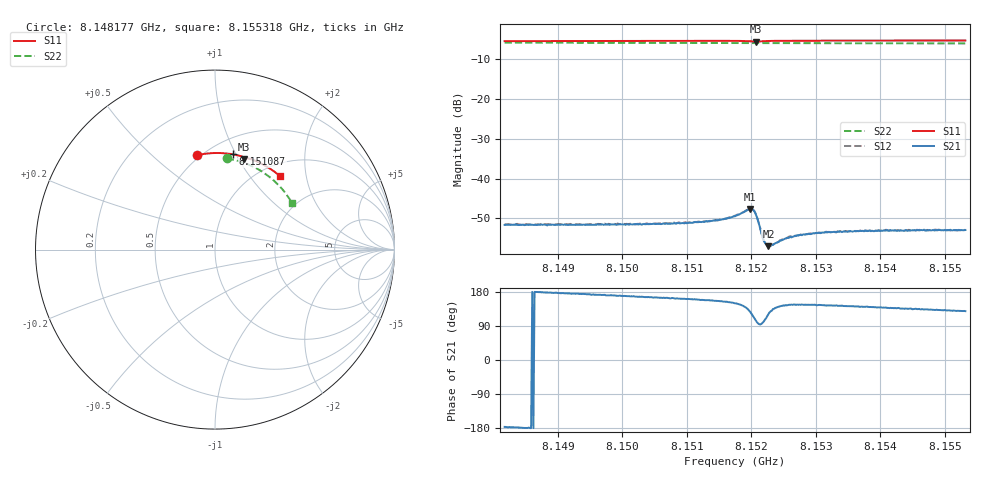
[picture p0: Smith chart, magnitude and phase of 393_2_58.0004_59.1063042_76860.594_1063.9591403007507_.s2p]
#  HZ  S  RI  R  50.00
! Rohde & Schwarz Vector Network Analyzer
! Rohde-Schwarz,ZNB20-2Port,1311601062101988,3.16
! Created: UTC 3/21/2024, 1:07:55 AM
! freq[Hz]  re:S11  im:S11  re:S21  im:S21  re:S12  im:S12  re:S22  im:S22
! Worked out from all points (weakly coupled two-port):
!   401 points, 8.148177 GHz to 8.155318 GHz, reference 50 ohm
!   highest |S21| = -47.67 dB at 8.15198 GHz (marker M1); lowest = -57.0 dB at 8.152265 GHz (marker M2)
!   lowest |S11| = -5.5 dB at 8.152069 GHz (marker M3), VSWR 3.25, Z = 37.7 + j52.7 ohm
!   |S11| at or under -10 dB: nowhere
!   |S22| runs from -6.0 to -5.8 dB; largest |S21 - S12| = 0.00012
!   S11 on the Smith chart (normalised r, x): 8.148177 GHz: 0.48, +0.71; 8.151087 GHz: 0.65, +0.98; 8.155318 GHz: 1.22, +1.42
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8.1481772e9  -0.0998 0.5261  -0.00261 -0.000159  -0.00266 -0.000121  0.0654 0.5079
8.1493733e9  -0.0173 0.5374  -0.00261 0.000274  -0.00264 0.000309  0.1409 0.4906
8.1505695e9  0.0661 0.5355  -0.0026 0.00073  -0.00261 0.000773  0.2125 0.4624
8.1510872e9  0.1021 0.5306  -0.00261 0.000938  -0.00265 0.00102  0.2417 0.4468
8.1514621e9  0.1283 0.5253  -0.00273 0.00121  -0.00273 0.00123  0.2623 0.4345
8.1517477e9  0.149 0.5191  -0.00289 0.00169  -0.00293 0.00175  0.2775 0.4243
8.1519798e9  0.1643 0.5075  -0.00253 0.00327  -0.0025 0.00333  0.2894 0.4155
8.1520334e9  0.1641 0.5038  -0.00163 0.00364  -0.00159 0.0037  0.292 0.4134
8.1520691e9  0.1626 0.5033  -0.000866 0.00347  -0.000829 0.0035  0.2937 0.4122
8.1521048e9  0.1619 0.5046  -0.000339 0.00292  -0.000284 0.00296  0.2953 0.4109
8.1521584e9  0.164 0.5078  -0.000193 0.00202  -0.000152 0.00204  0.2981 0.4091
8.1521941e9  0.1667 0.5091  -0.000335 0.00163  -0.000339 0.00161  0.2999 0.4078
8.1522298e9  0.1695 0.5099  -0.000513 0.00138  -0.00055 0.00138  0.3018 0.4064
8.1522655e9  0.1728 0.51  -0.000726 0.00121  -0.000713 0.00124  0.3035 0.405
8.1523012e9  0.1758 0.51  -0.000886 0.00111  -0.000887 0.00115  0.3054 0.4035
8.1525154e9  0.1923 0.5065  -0.0014 0.00103  -0.00139 0.001  0.316 0.3951
8.1526047e9  0.1985 0.5045  -0.00153 0.00105  -0.00154 0.00107  0.3203 0.3913
8.1527118e9  0.206 0.5019  -0.0016 0.00107  -0.00159 0.00109  0.3253 0.387
8.1529439e9  0.2214 0.4957  -0.00168 0.00114  -0.00172 0.00118  0.3363 0.3769
8.1533545e9  0.2476 0.4841  -0.00171 0.0013  -0.00171 0.0013  0.3547 0.3587
8.15414e9  0.2955 0.4579  -0.00161 0.0015  -0.00163 0.00153  0.3871 0.3214
8.1553183e9  0.3612 0.4102  -0.00141 0.00175  -0.00141 0.00178  0.428 0.2604
